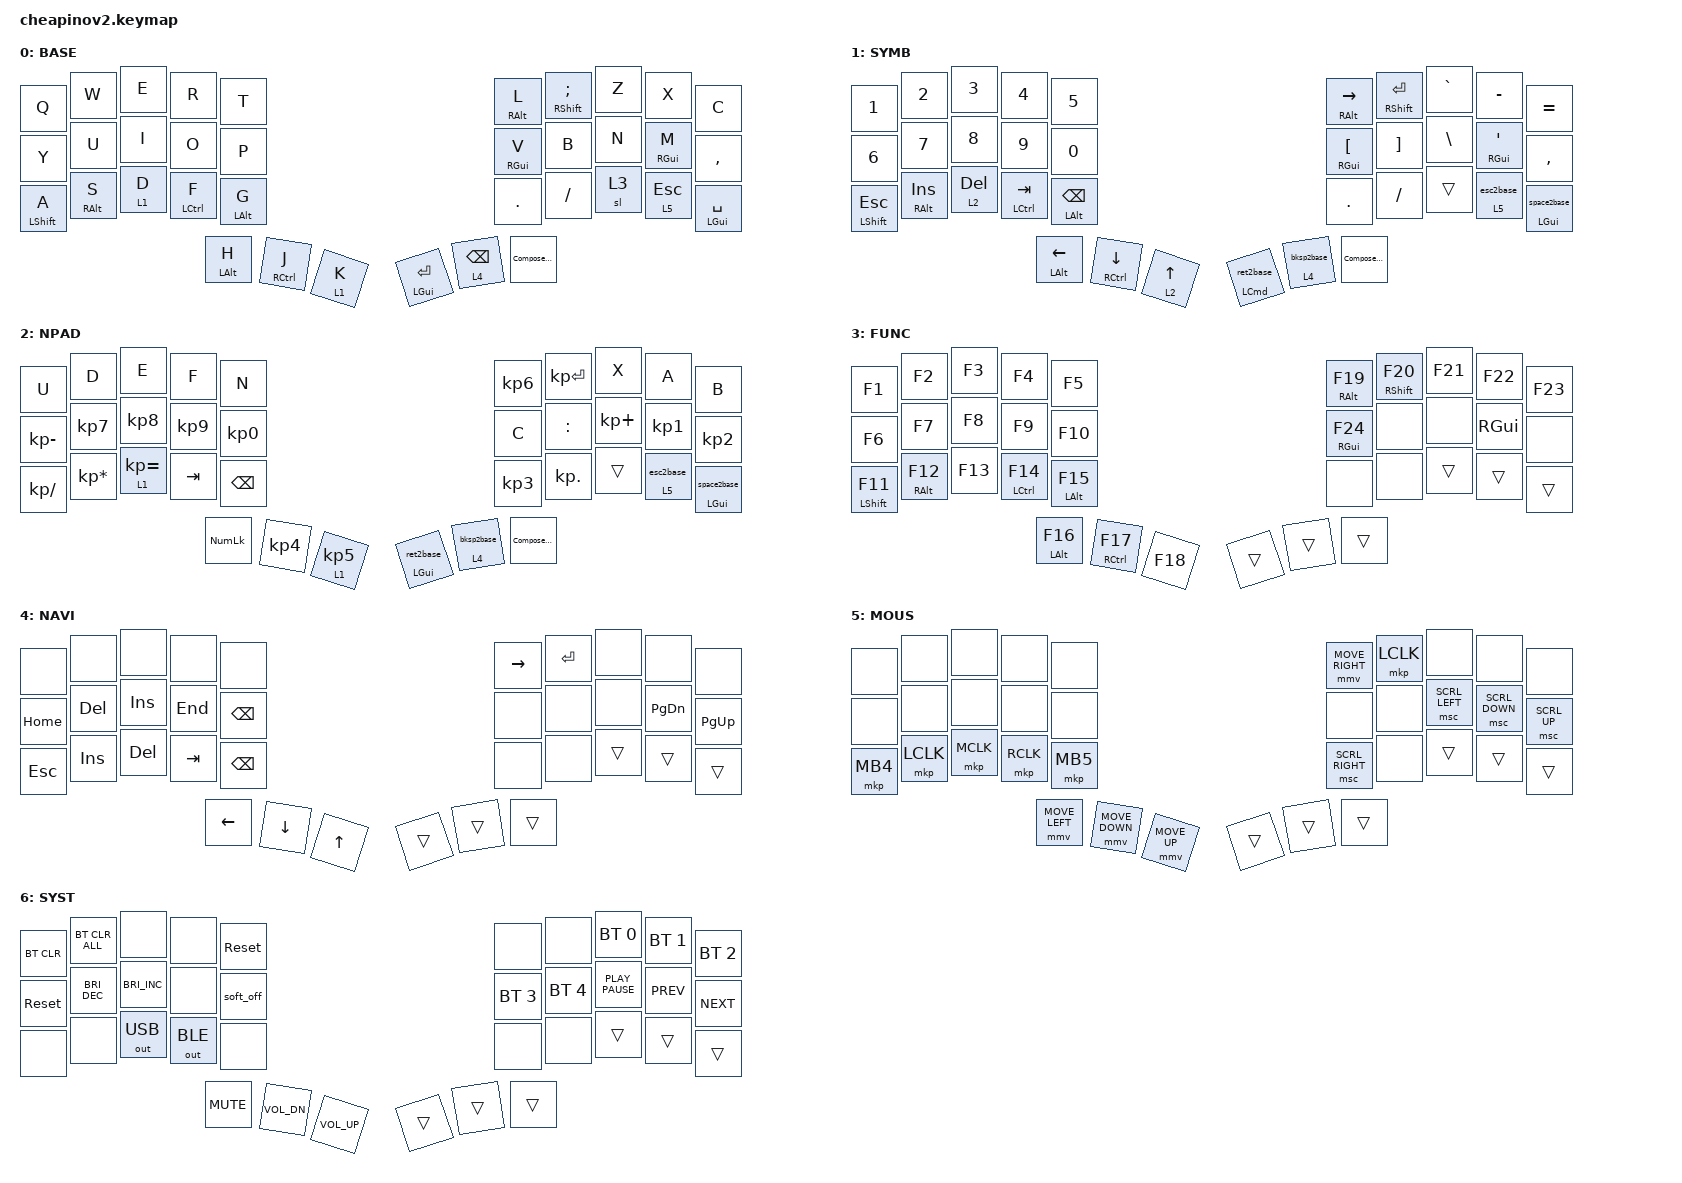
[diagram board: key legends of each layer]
#include <behaviors.dtsi>
#include <dt-bindings/zmk/bt.h>
#include <dt-bindings/zmk/keys.h>
#include <dt-bindings/zmk/outputs.h>
#include <dt-bindings/zmk/pointing.h>

#define KEYS_L 0 1 2 3 4  10 11 12 13 14  20 21 22 23 24  // left hand
#define KEYS_R 5 6 7 8 9  15 16 17 18 19  25 26 27 28 29  // right hand
#define THUMBS 35 // thumb cluster for both hands (only non-switching)
#define BASE  0
#define SYMB  1
#define NPAD  2
#define FUNC  3
#define NAVI  4
#define MOUS  5
#define SYST  6

&mt {
    quick-tap-ms = <100>;
    global-quick-tap;
    flavor = "tap-preferred";
    tapping-term-ms = <170>;
};

&soft_off {
    hold-time-ms = <5000>; // Only turn off it the key is held for 5 seconds or longer.
};

/ {
    combos {
        compatible = "zmk,combos";

        combo_caps1 {
            timeout-ms = <100>;
            key-positions = <30 35>; // Combo `fn + compose`
            bindings = <&kp CAPSLOCK>;
        };

        combo_caps2 {
            timeout-ms = <100>;
            key-positions = <10 19>; // Combo `right-shift+left-shift`
            bindings = <&kp CAPSLOCK>;
        };

        combo_symbol {
            timeout-ms = <100>;
            key-positions = <31 34>; // Combo `thumb ESC + thumb Backspace`
            bindings = <&tog SYMB>;
        };

        combo_boot_left {
            timeout-ms = <100>;
            key-positions = <0 1 2 4>; // Combo `Q+W+E+T`
            bindings = <&bootloader>;
        };

        combo_boot_right {
            timeout-ms = <100>;
            key-positions = <5 7 8 9>; // Combo `Y+I+O+P`
            bindings = <&bootloader>;
        };

        combo_sys_left {
            timeout-ms = <100>;
            key-positions = <23 32>; // Combo `v+space`
            bindings = <&mo SYST>;
        };

        combo_sys_right {
            timeout-ms = <100>;
            key-positions = <26 32>; // Combo `m+space`
            bindings = <&mo SYST>;
        };

        combo_studio_unlock {
            timeout-ms = <300>;
            key-positions = <1 2 3 14>; // Combo `W+E+R+G` — unlikely accidental press
            bindings = <&studio_unlock>;
        };

    };

    behaviors {
        hml: home_row_mod_left {
            compatible = "zmk,behavior-hold-tap";
            #binding-cells = <2>;
            flavor = "balanced";
            require-prior-idle-ms = <150>;
            tapping-term-ms = <280>;
            quick-tap-ms = <175>;
            bindings = <&kp>, <&kp>;

            hold-trigger-key-positions = <KEYS_R>;
            hold-trigger-on-release;
        };

        hmr: home_row_mod_right {
            compatible = "zmk,behavior-hold-tap";
            #binding-cells = <2>;
            flavor = "balanced";
            require-prior-idle-ms = <150>;
            tapping-term-ms = <280>;
            quick-tap-ms = <175>;
            bindings = <&kp>, <&kp>;

            hold-trigger-key-positions = <KEYS_L>;
            hold-trigger-on-release;
        };

        hml2: home_row_mod_left2 {
            compatible = "zmk,behavior-hold-tap";
            #binding-cells = <2>;
            flavor = "balanced";
            require-prior-idle-ms = <150>;
            tapping-term-ms = <280>;
            quick-tap-ms = <175>;
            bindings = <&mo>, <&kp>;

            hold-trigger-key-positions = <KEYS_R THUMBS>;
            hold-trigger-on-release;
        };

        hmr2: home_row_mod_right2 {
            compatible = "zmk,behavior-hold-tap";
            #binding-cells = <2>;
            flavor = "balanced";
            require-prior-idle-ms = <150>;
            tapping-term-ms = <500>;
            quick-tap-ms = <175>;
            bindings = <&mo>, <&kp>;

            hold-trigger-key-positions = <KEYS_L THUMBS>;
            hold-trigger-on-release;
        };

        Compose1ToNumpad: Compose1ToNumpad {
            compatible = "zmk,behavior-tap-dance";
            label = "Compose1ToNumpad";
            #binding-cells = <0>;
            bindings = <&kp K_APP>, <&tog 2>;

            tapping-term-ms = <500>;
        };

        Esc1ToMouse: Esc1ToMouse {
            compatible = "zmk,behavior-hold-tap";
            label = "ESCMOUSE";
            #binding-cells = <2>;
            bindings = <&mo>, <&esc2base>;

            tapping-term-ms = <230>;
        };

        Bspc1ToNavigation: Bspc1ToNavigation {
            compatible = "zmk,behavior-hold-tap";
            label = "BSPCNAVIGATION";
            bindings = <&mo>, <&bksp2base>;

            #binding-cells = <2>;
            tapping-term-ms = <230>;
        };

        Compose1ToBase: Compose1ToBase {
            compatible = "zmk,behavior-tap-dance";
            label = "COMPOSENUMPAD";
            #binding-cells = <0>;
            bindings = <&compose2base>, <&to 0>;

            tapping-term-ms = <500>;
        };

        Space1Lgui: Space1Lgui {
            compatible = "zmk,behavior-hold-tap";
            label = "SPACELGUI";
            bindings = <&kp>, <&space2base>;

            #binding-cells = <2>;
            tapping-term-ms = <230>;
        };

        Ret1Lgui: Ret1Lgui {
            compatible = "zmk,behavior-hold-tap";
            label = "RETLGUI";
            bindings = <&kp>, <&ret2base>;

            #binding-cells = <2>;
            tapping-term-ms = <230>;
        };
    };

    macros {
        esc2base: esc2base {
            compatible = "zmk,behavior-macro";
            #binding-cells = <0>;
            bindings = <&kp ESC &to 0>;
            label = "ESC2BASE";
        };

        space2base: space2base {
            compatible = "zmk,behavior-macro";
            #binding-cells = <0>;
            bindings = <&kp SPACE &to 0>;
            label = "SPACE2BASE";
        };

        ret2base: ret2base {
            compatible = "zmk,behavior-macro";
            #binding-cells = <0>;
            bindings = <&kp RET &to 0>;
            label = "RET2BASE";
        };

        bksp2base: bksp2base {
            compatible = "zmk,behavior-macro";
            #binding-cells = <0>;
            bindings = <&kp BACKSPACE &to 0>;
            label = "BKSP2BASE";
        };

        compose2base: compose2base {
            compatible = "zmk,behavior-macro";
            #binding-cells = <0>;
            bindings = <&kp C_MENU &to 0>;
            label = "COMPOSE2BASE";
        };
    };

    keymap {
        compatible = "zmk,keymap";

        base_layer {
            label = "BASE";
            bindings = <
                 &kp Q          &kp W             &kp E      &kp R         &kp T              &kp Y            &kp U              &kp I       &kp O             &kp P
                 &hml LSHIFT A  &hml RIGHT_ALT S  &hml2 1 D  &hml LCTRL F  &hml LEFT_ALT G    &hmr LEFT_ALT H  &hmr RCTRL J       &hmr2 1 K   &hmr RIGHT_ALT L  &hmr RSHIFT SEMICOLON
                 &kp Z          &kp X             &kp C      &hml RGUI V   &kp B              &kp N            &hmr RGUI M        &kp COMMA   &kp DOT           &kp SLASH             
                                                  &sl 3      &lt 5 ESC     &hml LGUI SPACE    &hmr LGUI ENTER  &hmr2 4 BACKSPACE  &Compose1ToNumpad
            >;
        };

        symbols {
            label = "SYMB";
            bindings = <
        &kp NUMBER_1       &kp NUMBER_2        &kp NUMBER_3    &kp NUMBER_4            &kp N5                     &kp NUMBER_6        &kp N7                  &kp N8          &kp N9                &kp N0
        &hml LSHFT ESCAPE  &hml RIGHT_ALT INS  &hml2 2 DELETE  &hml LCTRL TAB          &hml LEFT_ALT BACKSPACE    &hmr LEFT_ALT LEFT  &hmr RCTRL DOWN         &hmr2 2 UP      &hmr RIGHT_ALT RIGHT  &hmr RSHFT ENTER
        &kp GRAVE          &kp MINUS           &kp EQUAL       &hml RGUI LEFT_BRACKET  &kp RIGHT_BRACKET          &kp BACKSLASH       &hmr RGUI SINGLE_QUOTE  &kp COMMA       &kp PERIOD            &kp SLASH        
                                               &trans          &Esc1ToMouse 5 0           &Space1Lgui LGUI 0          &Ret1Lgui LCMD 0     &Bspc1ToNavigation 4 0     &Compose1ToBase
            >;
        };

        numpad {
            label = "NPAD";
            bindings = <
        &kp U          &kp D            &kp E             &kp F          &kp N                &kp KP_SUBTRACT  &kp KP_NUMBER_7      &kp KP_NUMBER_8      &kp KP_NUMBER_9  &kp KP_N0
        &kp KP_DIVIDE  &kp KP_MULTIPLY  &hml2 1 KP_EQUAL  &kp TAB        &kp BACKSPACE        &kp KP_NUMLOCK   &kp KP_NUMBER_4      &hml2 1 KP_NUMBER_5  &kp KP_NUMBER_6  &kp KP_ENTER
        &kp X          &kp A            &kp B             &kp C          &kp COLON            &kp KP_PLUS      &kp KP_NUMBER_1      &kp KP_NUMBER_2      &kp KP_NUMBER_3  &kp KP_DOT    
                                        &trans            &Esc1ToMouse 5 0  &Space1Lgui LGUI 0    &Ret1Lgui LGUI 0  &Bspc1ToNavigation 4 0  &Compose1ToBase
            >;
        };

        func {
            label = "FUNC";
            bindings = <
        &kp F1           &kp F2              &kp F3   &kp F4          &kp F5               &kp F6             &kp F7          &kp F8   &kp F9              &kp F10
        &hml LSHIFT F11  &hml RIGHT_ALT F12  &kp F13  &hml LCTRL F14  &hml LEFT_ALT F15    &hmr LEFT_ALT F16  &hmr RCTRL F17  &kp F18  &hmr RIGHT_ALT F19  &hmr RSHIFT F20
        &kp F21          &kp F22             &kp F23  &hml RGUI F24   &none                &none              &kp RGUI        &none    &none               &none          
                                             &trans   &trans          &trans               &trans             &trans          &trans
            >;
        };

        navigation {
            label = "NAVI";
            bindings = <
        &none       &none    &none    &none    &none            &kp HOME  &kp DEL        &kp INS    &kp END    &kp BACKSPACE
        &kp ESCAPE  &kp INS  &kp DEL  &kp TAB  &kp BACKSPACE    &kp LEFT  &kp DOWN       &kp UP     &kp RIGHT  &kp ENTER
        &none       &none    &none    &none    &none            &none     &kp PAGE_DOWN  &kp PG_UP  &none      &none         
                             &trans   &trans   &trans           &trans    &trans         &trans
            >;
        };

        mouse {
            label = "MOUS";
            bindings = <
        &none     &none      &none      &none      &none       &none           &none           &none         &none            &none
        &mkp MB4  &mkp LCLK  &mkp MCLK  &mkp RCLK  &mkp MB5    &mmv MOVE_LEFT  &mmv MOVE_DOWN  &mmv MOVE_UP  &mmv MOVE_RIGHT  &mkp LCLK
        &none     &none      &none      &none      &none       &msc SCRL_LEFT  &msc SCRL_DOWN  &msc SCRL_UP  &msc SCRL_RIGHT  &none     
                             &trans     &trans     &trans      &trans          &trans          &trans
            >;
        };

        system {
            label = "SYST";
            bindings = <
                &bt BT_CLR    &bt BT_CLR_ALL &none         &none         &sys_reset      &sys_reset        &kp C_BRIGHTNESS_DEC  &kp C_BRIGHTNESS_INC  &none  &soft_off
                &none         &none         &out OUT_USB  &out OUT_BLE  &none           &kp C_MUTE        &kp C_VOL_DN          &kp C_VOL_UP          &none  &none
                &bt BT_SEL 0  &bt BT_SEL 1  &bt BT_SEL 2  &bt BT_SEL 3  &bt BT_SEL 4    &kp K_PLAY_PAUSE  &kp K_PREV            &kp C_NEXT            &none  &none
                                            &trans        &trans        &trans          &trans            &trans                &trans
            >;
        };
    };
};
